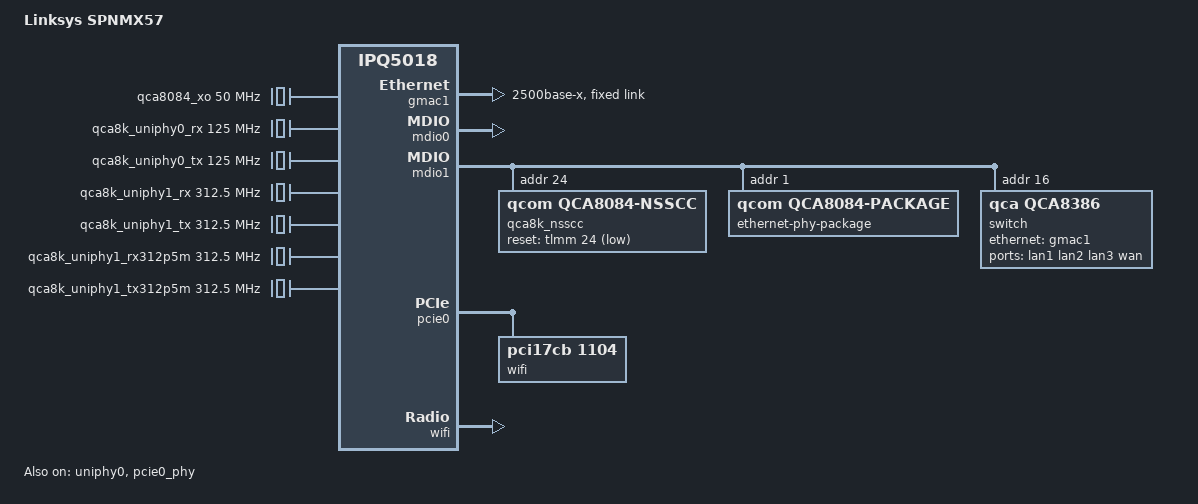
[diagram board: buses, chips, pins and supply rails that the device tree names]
/dts-v1/;

#include "ipq5018.dtsi"
#include "ipq5018-ess.dtsi"
#include "ipq5018-mx-base.dtsi"

#include <dt-bindings/clock/qcom,qca8k-nsscc.h>
#include <dt-bindings/reset/qcom,qca8k-nsscc.h>
#include <dt-bindings/net/qcom,qca808x.h>

/ {
	model = "Linksys SPNMX57";
	compatible = "linksys,spnmx57", "qcom,ipq5018";

	chosen {
		bootargs-append = " root=/dev/ubiblock0_0 coherent_pool=2M";
		stdout-path = "serial0:115200n8";
	};

	/*
	 * Clock inputs of the QCA8386's internal NSS clock controller.
	 *
	 * XO is a real 50 MHz reference. The uniphy rates are generated inside
	 * the chip by the SerDes PLL (brought up over MDIO by the QCA8084
	 * package/serdes driver); they are declared as fixed-clocks purely so
	 * the CCF can select mux parents and compute RCG dividers.
	 *
	 * Load-bearing: XO (all GEPHY sys clocks derive from it, and it is the
	 * only clock nss_cc_qca8k_probe() enables) and UNIPHY1_TX312P5M (the
	 * switch_core/apb_bridge mux must reach 312.5 MHz, which the package
	 * driver requests explicitly).
	 */
	qca8084_xo: clock-qca8084-xo {
		compatible = "fixed-clock";
		#clock-cells = <0>;
		clock-frequency = <50000000>;
	};

	qca8k_uniphy0_rx: clock-qca8k-uniphy0-rx {
		compatible = "fixed-clock";
		#clock-cells = <0>;
		clock-frequency = <125000000>;
	};

	qca8k_uniphy0_tx: clock-qca8k-uniphy0-tx {
		compatible = "fixed-clock";
		#clock-cells = <0>;
		clock-frequency = <125000000>;
	};

	qca8k_uniphy1_rx: clock-qca8k-uniphy1-rx {
		compatible = "fixed-clock";
		#clock-cells = <0>;
		clock-frequency = <312500000>;
	};

	qca8k_uniphy1_tx: clock-qca8k-uniphy1-tx {
		compatible = "fixed-clock";
		#clock-cells = <0>;
		clock-frequency = <312500000>;
	};

	qca8k_uniphy1_rx312p5m: clock-qca8k-uniphy1-rx312p5m {
		compatible = "fixed-clock";
		#clock-cells = <0>;
		clock-frequency = <312500000>;
	};

	qca8k_uniphy1_tx312p5m: clock-qca8k-uniphy1-tx312p5m {
		compatible = "fixed-clock";
		#clock-cells = <0>;
		clock-frequency = <312500000>;
	};
};

/*
 * Phase 2d (new DSA stack): QCA8386 switch with its four integrated QCA8084
 * 2.5G EPHYs exposed as lan1-4 DSA user ports.
 *
 * CPU port 0 uplinks to the SoC gmac1 at forced 2.5G SGMII+. The switch, the
 * NSS clock controller and the PHY package all sit behind the same indirect
 * MDIO window on mdio1 (page @ phy 0x18 reg 0x0c, data @ phy 0x10|r2).
 *
 * gpio24 (the QCA8386 package reset) is owned SOLELY by the nsscc node - the
 * switch node must not also claim it or the second devm_gpiod_get() gets -EBUSY.
 */

&uniphy0 {
	status = "okay";

	assigned-clocks = <&uniphy0 UNIPHY_CLK_REF>;
	assigned-clock-rates = <UNIPHY_REFCLK_50MHZ>;
};

/* MAC1 ---SGMII+ 2.5G---> QCA8386 CPU port (port 0) */
&gmac1 {
	status = "okay";

	phy-mode = "2500base-x";

	nvmem-cells = <&hw_mac_addr 0>;
	nvmem-cell-names = "mac-address";

	fixed-link {
		speed = <2500>;
		full-duplex;
		pause;
	};
};

&mdio0 {
	status = "okay";
};

&mdio1 {
	status = "okay";

	pinctrl-0 = <&mdio1_pins>;
	pinctrl-names = "default";

	/*
	 * The QCA8386's internal NSS clock/reset controller. Clocks MUST be in
	 * the driver's enum order (DT_XO first) and MUST NOT have clock-names:
	 * nss_cc_qca8k_probe() does clk_get(dev, NULL), i.e. index 0 = XO.
	 */
	qca8k_nsscc: clock-controller@18 {
		compatible = "qcom,qca8084-nsscc";
		reg = <0x18>;
		reset-gpios = <&tlmm 24 GPIO_ACTIVE_LOW>;
		#clock-cells = <1>;
		#reset-cells = <1>;
		#power-domain-cells = <1>;

		clocks = <&qca8084_xo>,
			 <&qca8k_uniphy0_rx>,
			 <&qca8k_uniphy0_tx>,
			 <&qca8k_uniphy1_rx>,
			 <&qca8k_uniphy1_tx>,
			 <&qca8k_uniphy1_rx312p5m>,
			 <&qca8k_uniphy1_tx312p5m>;
	};

	/*
	 * The four integrated QCA8084 EPHYs as a package. package-mode 1 is
	 * switch mode (PCS1 SGMII MAC / PCS0 SGMII MAC), which is why there is
	 * no xpcs-phy@7 and no qcom,xpcs-channel here - those are 10G-QXGMII
	 * (mode 0) only.
	 */
	ethernet-phy-package@1 {
		compatible = "qcom,qca8084-package";
		reg = <1>;
		#address-cells = <1>;
		#size-cells = <0>;

		clocks = <&qca8k_nsscc NSS_CC_APB_BRIDGE_CLK>,
			 <&qca8k_nsscc NSS_CC_AHB_CLK>,
			 <&qca8k_nsscc NSS_CC_SEC_CTRL_AHB_CLK>,
			 <&qca8k_nsscc NSS_CC_TLMM_CLK>,
			 <&qca8k_nsscc NSS_CC_TLMM_AHB_CLK>,
			 <&qca8k_nsscc NSS_CC_CNOC_AHB_CLK>,
			 <&qca8k_nsscc NSS_CC_MDIO_AHB_CLK>,
			 <&qca8k_nsscc NSS_CC_MDIO_MASTER_AHB_CLK>,
			 <&qca8k_nsscc NSS_CC_SWITCH_CORE_CLK>;
		/* switch_core and mdio_master_ahb MUST be claimed: the driver
		 * looks up all nine, and any branch with no consumer is turned
		 * off by clk_disable_unused() - which silently kills the switch
		 * datapath in switch mode.
		 */
		clock-names = "apb_bridge", "ahb", "sec_ctrl_ahb",
			      "tlmm", "tlmm_ahb", "cnoc_ahb", "mdio_ahb",
			      "mdio_master_ahb", "switch_core";
		resets = <&qca8k_nsscc NSS_CC_GEPHY_FULL_ARES>;

		qcom,package-mode = <QCA808X_PCS1_SGMII_MAC_PCS0_SGMII_MAC>;
		qcom,phy-addr-fixup = <1 2 3 4 5 6 7>;

		ephy1: ethernet-phy@1 {
			compatible = "ethernet-phy-id004d.d180";
			reg = <1>;
			clocks = <&qca8k_nsscc NSS_CC_GEPHY0_SYS_CLK>;
			resets = <&qca8k_nsscc NSS_CC_GEPHY0_SYS_ARES>;
		};

		ephy2: ethernet-phy@2 {
			compatible = "ethernet-phy-id004d.d180";
			reg = <2>;
			clocks = <&qca8k_nsscc NSS_CC_GEPHY1_SYS_CLK>;
			resets = <&qca8k_nsscc NSS_CC_GEPHY1_SYS_ARES>;
		};

		ephy3: ethernet-phy@3 {
			compatible = "ethernet-phy-id004d.d180";
			reg = <3>;
			clocks = <&qca8k_nsscc NSS_CC_GEPHY2_SYS_CLK>;
			resets = <&qca8k_nsscc NSS_CC_GEPHY2_SYS_ARES>;
		};

		ephy4: ethernet-phy@4 {
			compatible = "ethernet-phy-id004d.d180";
			reg = <4>;
			clocks = <&qca8k_nsscc NSS_CC_GEPHY3_SYS_CLK>;
			resets = <&qca8k_nsscc NSS_CC_GEPHY3_SYS_ARES>;
		};

		/* PCS1 SGMII+ carrying the MAC0 (CPU) uplink. */
		pcs-phy@6 {
			compatible = "qcom,qca8k-pcs-phy";
			reg = <6>;
			clocks = <&qca8k_nsscc NSS_CC_SRDS1_SYS_CLK>,
				 <&qca8k_uniphy1_tx312p5m>,
				 <&qca8k_uniphy1_rx312p5m>;
			clock-names = "pcs", "pcs_rx_root", "pcs_tx_root";
			resets = <&qca8k_nsscc NSS_CC_SRDS1_SYS_ARES>;
		};
	};

	/* QCA8386 switch: register window at pseudo-PHY 0x10. */
	switch@10 {
		compatible = "qca,qca8386";
		reg = <0x10>;
		#address-cells = <1>;
		#size-cells = <0>;

		/* The switch core and each MAC port come out of the package
		 * reset held in reset - their registers read back 0 and writes
		 * are dropped. The vendor SSDK pulses exactly this set in
		 * qca_mht_switch_reset() immediately before qca_switch_init().
		 */
		resets = <&qca8k_nsscc NSS_CC_SWITCH_CORE_ARES>,
			 <&qca8k_nsscc NSS_CC_MAC0_TX_ARES>,
			 <&qca8k_nsscc NSS_CC_MAC0_RX_ARES>,
			 <&qca8k_nsscc NSS_CC_MAC1_TX_ARES>,
			 <&qca8k_nsscc NSS_CC_MAC1_RX_ARES>,
			 <&qca8k_nsscc NSS_CC_MAC2_TX_ARES>,
			 <&qca8k_nsscc NSS_CC_MAC2_RX_ARES>,
			 <&qca8k_nsscc NSS_CC_MAC3_TX_ARES>,
			 <&qca8k_nsscc NSS_CC_MAC3_RX_ARES>,
			 <&qca8k_nsscc NSS_CC_MAC4_TX_ARES>,
			 <&qca8k_nsscc NSS_CC_MAC4_RX_ARES>,
			 <&qca8k_nsscc NSS_CC_MAC5_TX_ARES>,
			 <&qca8k_nsscc NSS_CC_MAC5_RX_ARES>;
		reset-names = "switch_core",
			      "mac0_tx", "mac0_rx",
			      "mac1_tx", "mac1_rx",
			      "mac2_tx", "mac2_rx",
			      "mac3_tx", "mac3_rx",
			      "mac4_tx", "mac4_rx",
			      "mac5_tx", "mac5_rx";

		/* Per-port datapath clocks. Nothing else claims these, so
		 * clk_disable_unused() would otherwise gate them and no frame
		 * would ever move. This is the switch-mode subset of the
		 * vendor's ssdk_mht_gcc_clock_init(): MAC0 gets its SerDes
		 * (UNIPHY1) clocks, the four user ports get their internal
		 * GEPHY clocks. Four clocks per port, tx then rx - the driver
		 * indexes them as port * 4.
		 */
		clocks = <&qca8k_nsscc NSS_CC_MAC0_TX_CLK>,
			 <&qca8k_nsscc NSS_CC_MAC0_RX_CLK>,
			 <&qca8k_nsscc NSS_CC_MAC0_TX_SRDS1_CLK>,
			 <&qca8k_nsscc NSS_CC_MAC0_RX_SRDS1_CLK>,
			 <&qca8k_nsscc NSS_CC_MAC1_TX_CLK>,
			 <&qca8k_nsscc NSS_CC_MAC1_RX_CLK>,
			 <&qca8k_nsscc NSS_CC_MAC1_GEPHY0_TX_CLK>,
			 <&qca8k_nsscc NSS_CC_MAC1_GEPHY0_RX_CLK>,
			 <&qca8k_nsscc NSS_CC_MAC2_TX_CLK>,
			 <&qca8k_nsscc NSS_CC_MAC2_RX_CLK>,
			 <&qca8k_nsscc NSS_CC_MAC2_GEPHY1_TX_CLK>,
			 <&qca8k_nsscc NSS_CC_MAC2_GEPHY1_RX_CLK>,
			 <&qca8k_nsscc NSS_CC_MAC3_TX_CLK>,
			 <&qca8k_nsscc NSS_CC_MAC3_RX_CLK>,
			 <&qca8k_nsscc NSS_CC_MAC3_GEPHY2_TX_CLK>,
			 <&qca8k_nsscc NSS_CC_MAC3_GEPHY2_RX_CLK>,
			 <&qca8k_nsscc NSS_CC_MAC4_TX_CLK>,
			 <&qca8k_nsscc NSS_CC_MAC4_RX_CLK>,
			 <&qca8k_nsscc NSS_CC_MAC4_GEPHY3_TX_CLK>,
			 <&qca8k_nsscc NSS_CC_MAC4_GEPHY3_RX_CLK>;
		clock-names = "mac0_tx", "mac0_rx", "mac0_tx_srds1", "mac0_rx_srds1",
			      "mac1_tx", "mac1_rx", "mac1_gephy_tx", "mac1_gephy_rx",
			      "mac2_tx", "mac2_rx", "mac2_gephy_tx", "mac2_gephy_rx",
			      "mac3_tx", "mac3_rx", "mac3_gephy_tx", "mac3_gephy_rx",
			      "mac4_tx", "mac4_rx", "mac4_gephy_tx", "mac4_gephy_rx";

		ports {
			#address-cells = <1>;
			#size-cells = <0>;

			port@0 {
				reg = <0>;
				ethernet = <&gmac1>;
				phy-mode = "2500base-x";

				fixed-link {
					speed = <2500>;
					full-duplex;
				};
			};

			port@1 {
				reg = <1>;
				label = "lan1";
				phy-mode = "internal";
				phy-handle = <&ephy1>;
			};

			port@2 {
				reg = <2>;
				label = "lan2";
				phy-mode = "internal";
				phy-handle = <&ephy2>;
			};

			port@3 {
				reg = <3>;
				label = "lan3";
				phy-mode = "internal";
				phy-handle = <&ephy3>;
			};

			/* phy4 is the physical "Internet" socket on this board. */
			port@4 {
				reg = <4>;
				label = "wan";
				phy-mode = "internal";
				phy-handle = <&ephy4>;
			};
		};
	};
};

&pcie0_phy {
	status = "okay";
};

&pcie0 {
	status = "okay";

	perst-gpios = <&tlmm 15 GPIO_ACTIVE_LOW>;

	pcie@0 {
		wifi@0,0 {
			status = "okay";

			/* QCN9074: ath11k lacks DT compatible for PCI cards */
			compatible = "pci17cb,1104";
			reg = <0x00010000 0 0 0 0>;

			qcom,ath11k-calibration-variant = "Linksys-SPNMX56";
		};
	};
};

&q6v5_wcss {
	firmware-name = "ath11k/IPQ5018/hw1.0/q6_fw.mdt",
			"ath11k/IPQ5018/hw1.0/m3_fw.mdt";
};

&wifi {
	status = "okay";

	qcom,rproc = <&q6v5_wcss>;
	qcom,ath11k-calibration-variant = "Linksys-SPNMX56";
	qcom,ath11k-fw-memory-mode = <1>;
};
